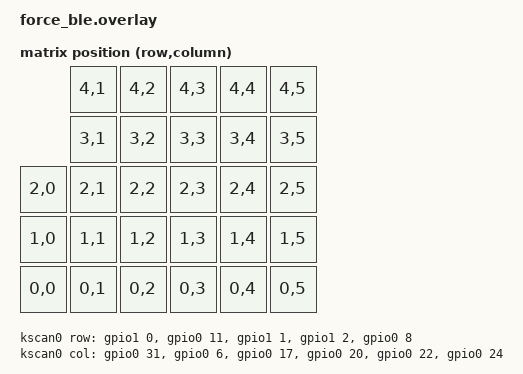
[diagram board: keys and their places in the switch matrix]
#include <dt-bindings/pinctrl/nrf-pinctrl.h>
#include <dt-bindings/zmk/matrix_transform.h>

/ {
    chosen {
        zmk,kscan = &kscan0;
        zmk,matrix-transform = &default_transform;
    };

    kscan0: kscan_0 {
        compatible = "zmk,kscan-gpio-matrix";
        diode-direction = "col2row";
        wakeup-source;

        /* Electrical row order: R0 is the bottom physical row, R4 is the top. */
        row-gpios = <
            &gpio1 0  (GPIO_ACTIVE_HIGH | GPIO_PULL_DOWN) /* R0 */
            &gpio0 11 (GPIO_ACTIVE_HIGH | GPIO_PULL_DOWN) /* R1 */
            &gpio1 1  (GPIO_ACTIVE_HIGH | GPIO_PULL_DOWN) /* R2 */
            &gpio1 2  (GPIO_ACTIVE_HIGH | GPIO_PULL_DOWN) /* R3 */
            &gpio0 8  (GPIO_ACTIVE_HIGH | GPIO_PULL_DOWN) /* R4 */
        >;

        col-gpios = <
            &gpio0 31 GPIO_ACTIVE_HIGH /* C0 */
            &gpio0 6  GPIO_ACTIVE_HIGH /* C1 */
            &gpio0 17 GPIO_ACTIVE_HIGH /* C2 */
            &gpio0 20 GPIO_ACTIVE_HIGH /* C3 */
            &gpio0 22 GPIO_ACTIVE_HIGH /* C4 */
            &gpio0 24 GPIO_ACTIVE_HIGH /* C5 */
        >;
    };

    default_transform: keymap_transform_0 {
        compatible = "zmk,matrix-transform";
        rows = <5>;
        columns = <6>;

        /*
         * Logical keymap order follows the visible macropad from top-left to
         * bottom-right. C0 exists only on the three lower physical rows.
         */
        map = <
                    RC(4,1) RC(4,2) RC(4,3) RC(4,4) RC(4,5)
                    RC(3,1) RC(3,2) RC(3,3) RC(3,4) RC(3,5)
            RC(2,0) RC(2,1) RC(2,2) RC(2,3) RC(2,4) RC(2,5)
            RC(1,0) RC(1,1) RC(1,2) RC(1,3) RC(1,4) RC(1,5)
            RC(0,0) RC(0,1) RC(0,2) RC(0,3) RC(0,4) RC(0,5)
        >;
    };

    /* LED DIN is connected to ESP32 GPIO21, so the nRF does not drive RGB. */
};

&pinctrl {
    uart1_default: uart1_default {
        group1 {
            psels = <
                NRF_PSEL(UART_TX, 0, 2)
                NRF_PSEL(UART_RX, 1, 15)
            >;
        };
    };

    uart1_sleep: uart1_sleep {
        group1 {
            psels = <
                NRF_PSEL(UART_TX, 0, 2)
                NRF_PSEL(UART_RX, 1, 15)
            >;
            low-power-enable;
        };
    };
};

&uart1 {
    compatible = "nordic,nrf-uarte";
    current-speed = <115200>;
    status = "okay";
    pinctrl-0 = <&uart1_default>;
    pinctrl-1 = <&uart1_sleep>;
    pinctrl-names = "default", "sleep";
};
